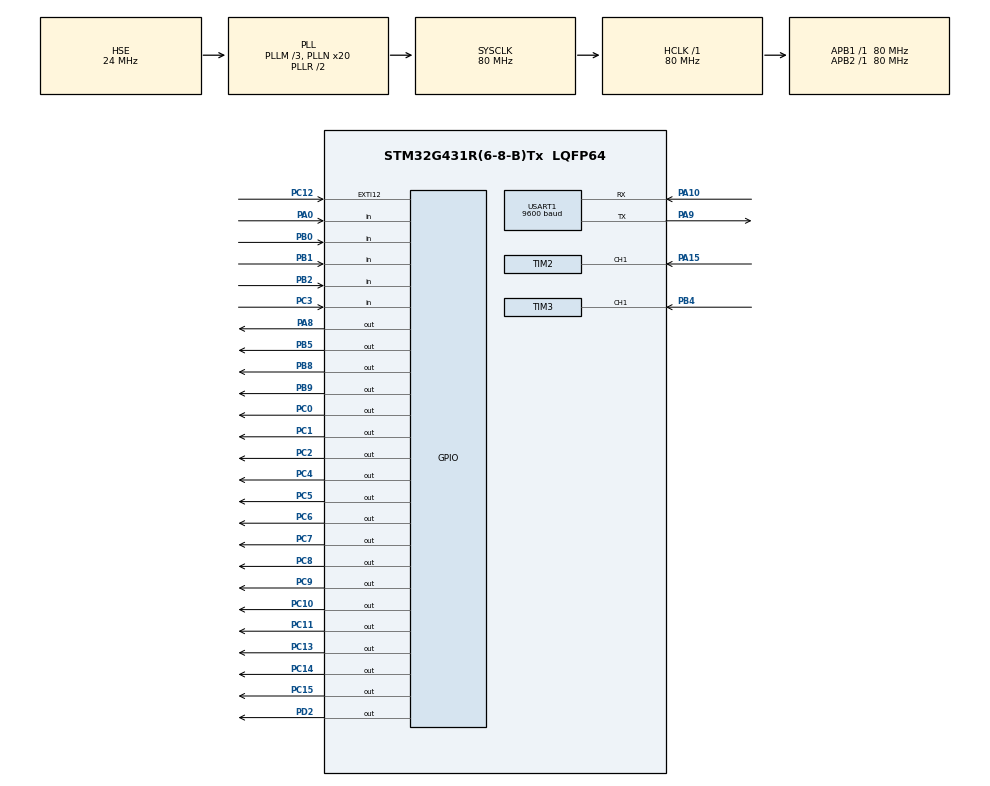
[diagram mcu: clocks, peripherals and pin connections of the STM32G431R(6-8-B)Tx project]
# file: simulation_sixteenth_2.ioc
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Mcu.Family=STM32G4
Mcu.Name=STM32G431R(6-8-B)Tx
Mcu.Package=LQFP64
NVIC.PriorityGroup=NVIC_PRIORITYGROUP_4
NVIC.TIM1_TRG_COM_TIM17_IRQn=true\:0\:0\:false\:false\:true\:true\:true\:true
NVIC.TIM2_IRQn=true\:0\:0\:false\:false\:true\:true\:true\:true
NVIC.TIM3_IRQn=true\:0\:0\:false\:false\:true\:true\:true\:true
NVIC.USART1_IRQn=true\:0\:0\:false\:false\:true\:true\:true\:true
PA0.GPIO_PuPd=GPIO_PULLUP
PA0.Signal=GPIO_Input
PA10.Mode=Asynchronous
PA10.Signal=USART1_RX
PA13.Mode=Trace_Asynchronous_SW
PA13.Signal=SYS_JTMS-SWDIO
PA14.Mode=Trace_Asynchronous_SW
PA14.Signal=SYS_JTCK-SWCLK
PA15.Signal=S_TIM2_CH1
PA8.Signal=GPIO_Output
PA9.Mode=Asynchronous
PA9.Signal=USART1_TX
PB0.GPIO_PuPd=GPIO_PULLUP
PB0.Signal=GPIO_Input
PB1.GPIO_PuPd=GPIO_PULLUP
PB1.Signal=GPIO_Input
PB2.GPIO_PuPd=GPIO_PULLUP
PB2.Signal=GPIO_Input
PB3.Mode=Trace_Asynchronous_SW
PB3.Signal=SYS_JTDO-SWO
PB4.Signal=S_TIM3_CH1
PB5.Signal=GPIO_Output
PB8-BOOT0.Signal=GPIO_Output
PB9.Signal=GPIO_Output
PC0.Signal=GPIO_Output
PC1.Signal=GPIO_Output
PC10.Signal=GPIO_Output
PC11.Signal=GPIO_Output
PC12.Signal=GPXTI12
PC13.Signal=GPIO_Output
PC14-OSC32_IN.Signal=GPIO_Output
PC15-OSC32_OUT.Signal=GPIO_Output
PC2.Signal=GPIO_Output
PC3.Signal=GPIO_Input
PC4.Signal=GPIO_Output
PC5.Signal=GPIO_Output
PC6.Signal=GPIO_Output
PC7.Signal=GPIO_Output
PC8.Signal=GPIO_Output
PC9.Signal=GPIO_Output
PD2.Signal=GPIO_Output
PF0-OSC_IN.Mode=HSE-External-Oscillator
PF0-OSC_IN.Signal=RCC_OSC_IN
PF1-OSC_OUT.Mode=HSE-External-Oscillator
PF1-OSC_OUT.Signal=RCC_OSC_OUT
ProjectManager.HeapSize=0x200
ProjectManager.StackSize=0x400
ProjectManager.TargetToolchain=MDK-ARM V5.32
RCC.ADC12Freq_Value=80000000
RCC.AHBFreq_Value=80000000
RCC.APB1Freq_Value=80000000
RCC.APB1TimFreq_Value=80000000
RCC.APB2Freq_Value=80000000
RCC.APB2TimFreq_Value=80000000
RCC.CortexFreq_Value=80000000
RCC.EXTERNAL_CLOCK_VALUE=12288000
RCC.HCLKFreq_Value=80000000
RCC.HSE_VALUE=24000000
RCC.HSI48_VALUE=48000000
RCC.HSI_VALUE=16000000
RCC.LSE_VALUE=32768
RCC.PLLM=RCC_PLLM_DIV3
RCC.PLLN=20
RCC.PLLSourceVirtual=RCC_PLLSOURCE_HSE
RCC.SYSCLKFreq_VALUE=80000000
RCC.SYSCLKSource=RCC_SYSCLKSOURCE_PLLCLK
RCC.USBFreq_Value=80000000
RCC.VCOOutputFreq_Value=160000000
SH.S_TIM2_CH1.0=TIM2_CH1,Input_Capture1_from_TI1
SH.S_TIM2_CH1.1=TIM2_CH1,TriggerSource_TI1FP1
SH.S_TIM3_CH1.0=TIM3_CH1,Input_Capture1_from_TI1
SH.S_TIM3_CH1.1=TIM3_CH1,TriggerSource_TI1FP1
TIM17.PeriodNoDither=100-1
TIM17.Prescaler=800-1
TIM2.Channel-Input_Capture1_from_TI1=TIM_CHANNEL_1
TIM2.Prescaler=80-1
TIM3.Channel-Input_Capture1_from_TI1=TIM_CHANNEL_1
TIM3.Prescaler=80-1
USART1.BaudRate=9600
USART1.VirtualMode-Asynchronous=VM_ASYNC
VP_SYS_VS_DBSignals.Mode=DisableDeadBatterySignals
VP_TIM17_VS_ClockSourceINT.Mode=Enable_Timer
VP_TIM2_VS_ClockSourceINT.Mode=Internal
VP_TIM2_VS_ControllerModeReset.Mode=Reset Mode
VP_TIM3_VS_ClockSourceINT.Mode=Internal
VP_TIM3_VS_ControllerModeReset.Mode=Reset Mode
board=custom

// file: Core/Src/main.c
/* USER CODE BEGIN Header */
/**
  ******************************************************************************
  * @file           : main.c
  * @brief          : Main program body
  ******************************************************************************
  * @attention
  *
  * Copyright (c) 2025 STMicroelectronics.
  * All rights reserved.
  *
  * This software is licensed under terms that can be found in the LICENSE file
  * in the root directory of this software component.
  * If no LICENSE file comes with this software, it is provided AS-IS.
  *
  ******************************************************************************
  */
/* USER CODE END Header */
#include "main.h"
#include "tim.h"
#include "usart.h"
#include "gpio.h"

void SystemClock_Config(void);

/* USER CODE BEGIN 0 */
u8 lcd_mod=0;
double f1,f2,pf=1000;
u8 b1,b11,b2,b22,b3,b33,b4,b44;
u8 con_mod=0;
u8 f1_con=1,f2_con=1;
u8 rx[5];
u8 rx_len;
int TIM_100,TIM_100_CON;
u8 ld3;
void HAL_TIM_PeriodElapsedCallback(TIM_HandleTypeDef *htim)
{
	if(htim->Instance==TIM17)
	{
		if(TIM_100_CON)
		{
			if(++TIM_100==100)
			{
				TIM_100=0;
				ld3^=1;
			}
		}
	}
}
void HAL_TIM_IC_CaptureCallback(TIM_HandleTypeDef *htim)
{
	if(htim->Instance==TIM3)
	{
		if(f1_con)
		{
			f1=1000000.0/(HAL_TIM_ReadCapturedValue(&htim3,TIM_CHANNEL_1)+1.0);
		}
	}
	if(htim->Instance==TIM2)
	{
		if(f2_con)
		{
			f2=1000000.0/(HAL_TIM_ReadCapturedValue(&htim2,TIM_CHANNEL_1)+1.0);
		}
	}
}
void lcd_proc(void)
{
	u8 text[25];
	if(lcd_mod==0)
	{
		sprintf((char *)text,"        DATA        ");
		LCD_DisplayStringLine(Line1, (unsigned char *)text);
		sprintf((char *)text,"     F1=%.0fHZ      ",f1);
		LCD_DisplayStringLine(Line3, (unsigned char *)text);
		sprintf((char *)text,"     F2=%.0fHZ      ",f2);
		LCD_DisplayStringLine(Line4, (unsigned char *)text);
		if(con_mod==0) sprintf((char *)text,"     MODE=KEY       ");
		if(con_mod==1) sprintf((char *)text,"     MODE=USART     ");
		LCD_DisplayStringLine(Line5, (unsigned char *)text);
	}
	if(lcd_mod==1)
	{
		sprintf((char *)text,"        PARA        ");
		LCD_DisplayStringLine(Line1, (unsigned char *)text);
		sprintf((char *)text,"     PF=%.0fHZ      ",pf);
		LCD_DisplayStringLine(Line3, (unsigned char *)text);
	}
}
void key_proc(void)
{
	if(HAL_GPIO_ReadPin(GPIOB,GPIO_PIN_0)==0) b1=1;
	else b1=0;
	if(b1==1&&b11==0)
	{
		b11=1;
		lcd_mod^=1;
		LCD_Clear(Black);
	}if(b1==0&&b11==1) b11=0;

	if(HAL_GPIO_ReadPin(GPIOB,GPIO_PIN_1)==0) b2=1;
	else b2=0;
	if(b2==1&&b22==0)
	{
		b22=1;
		con_mod^=1;
	}if(b2==0&&b22==1) b22=0;

	if(HAL_GPIO_ReadPin(GPIOB,GPIO_PIN_2)==0) b3=1;
	else b3=0;
	if(b3==1&&b33==0)
	{
		b33=1;
		if(lcd_mod==0&&con_mod==0)
		{
			f1_con^=1;
		}
		if(lcd_mod==1)
		{
			if(pf==10000) pf=10000;
			else pf+=1000;
		}
	}if(b3==0&&b33==1) b33=0;

	if(HAL_GPIO_ReadPin(GPIOA,GPIO_PIN_0)==0) b4=1;
	else b4=0;
	if(b4==1&&b44==0)
	{
		b44=1;
		if(lcd_mod==0&&con_mod==0)
		{
			f2_con^=1;
		}
		if(lcd_mod==1)
		{
			if(pf==1000) pf=1000;
			else pf-=1000;
		}
	}if(b4==0&&b44==1) b44=0;
}
void uart_proc(void)
{
	u8 text[10];
	if(con_mod==1)
	{
		if(strcmp((char *)rx,"\0")!=0)
		{
			if(strcmp((char *)rx,"TF1")==0)
			{
				f1_con=1;
			}
			else if(strcmp((char *)rx,"TF2")==0)
			{
				f2_con=1;
			}
			else if(strcmp((char *)rx,"PF1")==0)
			{
				f1_con=0;
			}
			else if(strcmp((char *)rx,"PF2")==0)
			{
				f2_con=0;
			}
			else if(strcmp((char *)rx,"F1")==0)
			{
				sprintf((char *)text,"F1:%.0f",f1);
				HAL_UART_Transmit(&huart1,text,sizeof(text),HAL_MAX_DELAY);
			}
			else if(strcmp((char *)rx,"F2")==0)
			{
				sprintf((char *)text,"F2:%.0f",f2);
				HAL_UART_Transmit(&huart1,text,sizeof(text),HAL_MAX_DELAY);
			}
			else
			{
				sprintf((char *)text,"NULL");
				HAL_UART_Transmit(&huart1,text,4,HAL_MAX_DELAY);
			}
				memset(rx,'\0',sizeof(rx));
		}
	}
	if(con_mod==0)
	{
		if(strcmp((char *)rx,"\0")!=0)
		{
			sprintf((char *)text,"NULL");
			HAL_UART_Transmit(&huart1,text,4,HAL_MAX_DELAY);
			memset(rx,'\0',sizeof(rx));
		}
	}
}
/* USER CODE END 0 */

int main(void)
{

  /* MCU Configuration--------------------------------------------------------*/

  /* Reset of all peripherals, Initializes the Flash interface and the Systick. */
  HAL_Init();

  /* Configure the system clock */
  SystemClock_Config();

  /* Initialize all configured peripherals */
  MX_GPIO_Init();
  MX_TIM2_Init();
  MX_TIM3_Init();
  MX_USART1_UART_Init();
  MX_TIM17_Init();

  /* Infinite loop */
  /* USER CODE BEGIN WHILE */
	LCD_Init();
	LCD_SetBackColor(Black);
	LCD_SetTextColor(White);
	LCD_Clear(Black);
	HAL_TIM_IC_Start_IT(&htim3,TIM_CHANNEL_1);//pb4 f1
	HAL_TIM_IC_Start_IT(&htim2,TIM_CHANNEL_1);//pa15 f2
	HAL_TIM_Base_Start_IT(&htim17);
	__HAL_UART_ENABLE_IT(&huart1,UART_IT_RXNE);
	__HAL_UART_ENABLE_IT(&huart1,UART_IT_IDLE);
  /* USER CODE BEGIN WHILE */
  while (1)
  {
	  lcd_proc();key_proc();uart_proc();
	  HAL_GPIO_WritePin(GPIOC, ((uint16_t)0xff00),1);
	  if(lcd_mod==0) HAL_GPIO_WritePin(GPIOC,GPIO_PIN_8,0);
	  if(lcd_mod==1) HAL_GPIO_WritePin(GPIOC,GPIO_PIN_9,0);
	  if(f1<pf&&f2<pf) TIM_100_CON=1;
	  else
	  {
		  TIM_100=0;
		  TIM_100_CON=0;
		  ld3=1;
	  }
	  if(TIM_100_CON) HAL_GPIO_WritePin(GPIOC,GPIO_PIN_10,ld3);
	  if(con_mod==1) HAL_GPIO_WritePin(GPIOC,GPIO_PIN_15,0);
	  HAL_GPIO_WritePin(GPIOD,GPIO_PIN_2,1);
	  HAL_GPIO_WritePin(GPIOD,GPIO_PIN_2,0);
    /* USER CODE END WHILE */

  }
}

void SystemClock_Config(void)
{
  RCC_OscInitTypeDef RCC_OscInitStruct = {0};
  RCC_ClkInitTypeDef RCC_ClkInitStruct = {0};

  /** Configure the main internal regulator output voltage
  */
  HAL_PWREx_ControlVoltageScaling(PWR_REGULATOR_VOLTAGE_SCALE1);

  /** Initializes the RCC Oscillators according to the specified parameters
  * in the RCC_OscInitTypeDef structure.
  */
  RCC_OscInitStruct.OscillatorType = RCC_OSCILLATORTYPE_HSE;
  RCC_OscInitStruct.HSEState = RCC_HSE_ON;
  RCC_OscInitStruct.PLL.PLLState = RCC_PLL_ON;
  RCC_OscInitStruct.PLL.PLLSource = RCC_PLLSOURCE_HSE;
  RCC_OscInitStruct.PLL.PLLM = RCC_PLLM_DIV3;
  RCC_OscInitStruct.PLL.PLLN = 20;
  RCC_OscInitStruct.PLL.PLLP = RCC_PLLP_DIV2;
  RCC_OscInitStruct.PLL.PLLQ = RCC_PLLQ_DIV2;
  RCC_OscInitStruct.PLL.PLLR = RCC_PLLR_DIV2;
  if (HAL_RCC_OscConfig(&RCC_OscInitStruct) != HAL_OK)
  {
    Error_Handler();
  }

  /** Initializes the CPU, AHB and APB buses clocks
  */
  RCC_ClkInitStruct.ClockType = RCC_CLOCKTYPE_HCLK|RCC_CLOCKTYPE_SYSCLK
                              |RCC_CLOCKTYPE_PCLK1|RCC_CLOCKTYPE_PCLK2;
  RCC_ClkInitStruct.SYSCLKSource = RCC_SYSCLKSOURCE_PLLCLK;
  RCC_ClkInitStruct.AHBCLKDivider = RCC_SYSCLK_DIV1;
  RCC_ClkInitStruct.APB1CLKDivider = RCC_HCLK_DIV1;
  RCC_ClkInitStruct.APB2CLKDivider = RCC_HCLK_DIV1;

  if (HAL_RCC_ClockConfig(&RCC_ClkInitStruct, FLASH_LATENCY_2) != HAL_OK)
  {
    Error_Handler();
  }
}

void Error_Handler(void)
{
  __disable_irq();
  while (1)
  {
  }
}
